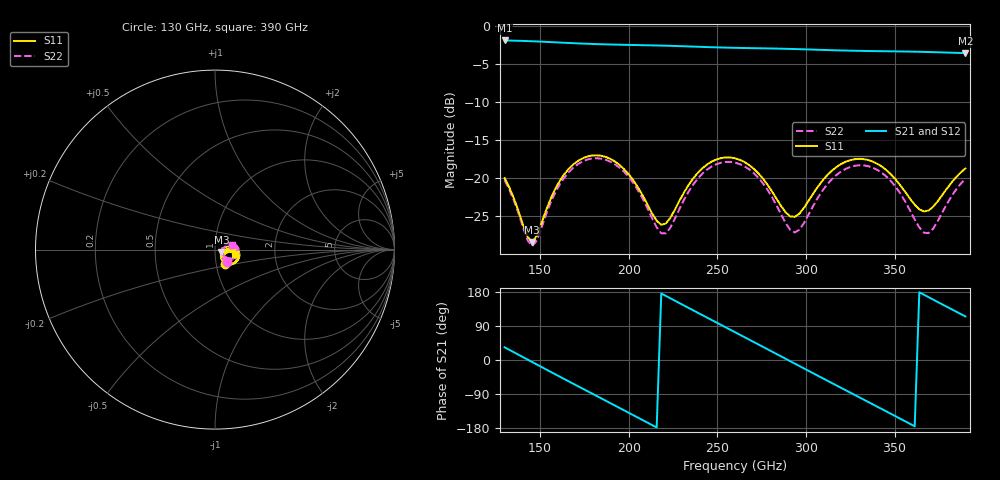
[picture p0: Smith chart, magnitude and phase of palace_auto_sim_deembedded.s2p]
! Created with skrf 1.11.0 (http://scikit-rf.org).
# GHz S DB R 50.0
!freq dBS11 angS11 dBS21 angS21 dBS12 angS12 dBS22 angS22
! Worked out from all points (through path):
!   101 points, 130 GHz to 390 GHz, reference 50 ohm
!   highest |S21| = -1.93 dB at 130 GHz (marker M1); lowest = -3.6 dB at 390 GHz (marker M2)
!   group delay of S21, straight-line fit = 6.82 ps
!   lowest |S11| = -28.4 dB at 145.6 GHz (marker M3), VSWR 1.08, Z = 53.7 - j1.36 ohm
!   |S11| at or under -10 dB: start of sweep to end of sweep
!   |S22| runs from -28.9 to -17.4 dB; largest |S21 - S12| = 8.4e-14
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130  -20.00 -54.3  -1.93 33.5  -1.93 33.5  -20.26 -46.4
145.6  -28.36 -19.3  -2.04 -5.4  -2.04 -5.4  -28.92 -11.2
161.2  -20.32 12.1  -2.21 -44.1  -2.21 -44.1  -20.78 23.0
174.2  -17.37 -6.8  -2.35 -76.0  -2.35 -76.0  -17.78 4.7
182  -17.00 -20.0  -2.41 -95.1  -2.41 -95.1  -17.39 -8.2
192.4  -17.84 -36.8  -2.48 -120.5  -2.48 -120.5  -18.20 -24.8
205.4  -21.26 -49.9  -2.54 -152.4  -2.54 -152.4  -21.63 -38.8
218.4  -26.11 -25.3  -2.61 175.5  -2.61 175.5  -27.23 -14.9
228.8  -22.91 4.4  -2.68 149.8  -2.68 149.8  -23.97 20.6
241.8  -18.66 -2.7  -2.78 117.9  -2.78 117.9  -19.36 14.2
260  -17.39 -30.0  -2.90 73.4  -2.90 73.4  -17.96 -13.5
273  -19.31 -47.0  -2.95 41.5  -2.95 41.5  -19.90 -31.8
283.4  -22.68 -49.0  -3.00 16.0  -3.00 16.0  -23.56 -36.2
293.8  -25.07 -23.1  -3.06 -9.7  -3.06 -9.7  -27.12 -7.7
304.2  -21.99 -3.0  -3.13 -35.2  -3.13 -35.2  -23.60 19.7
314.6  -19.03 -7.7  -3.21 -60.6  -3.21 -60.6  -20.15 15.3
325  -17.63 -20.6  -3.27 -86.0  -3.27 -86.0  -18.53 1.7
335.4  -17.63 -35.1  -3.32 -111.3  -3.32 -111.3  -18.44 -14.0
348.4  -19.60 -49.6  -3.36 -143.1  -3.36 -143.1  -20.50 -31.2
358.8  -22.70 -48.7  -3.40 -168.6  -3.40 -168.6  -24.25 -33.6
369.2  -24.24 -24.1  -3.45 165.8  -3.45 165.8  -27.21 -2.2
390  -18.72 -13.5  -3.60 114.9  -3.60 114.9  -20.09 15.3
